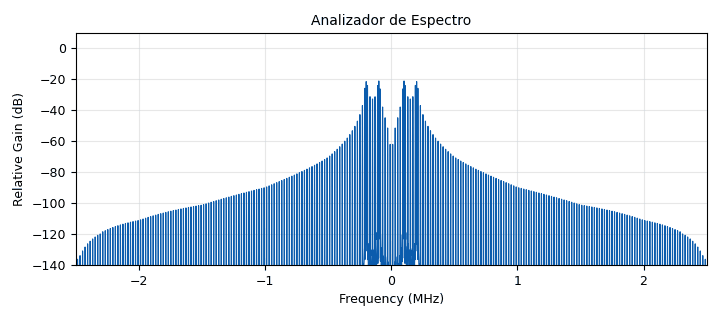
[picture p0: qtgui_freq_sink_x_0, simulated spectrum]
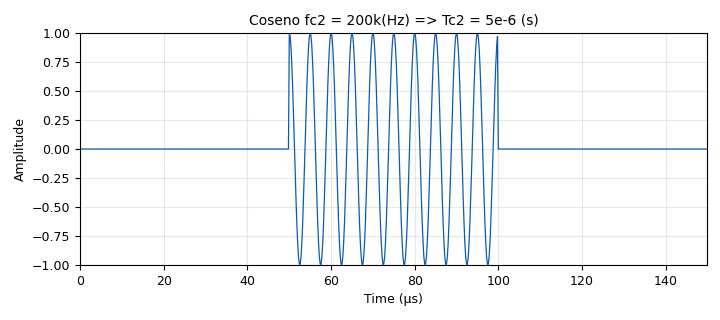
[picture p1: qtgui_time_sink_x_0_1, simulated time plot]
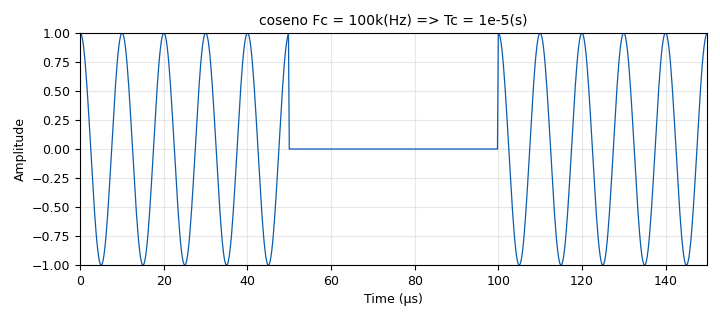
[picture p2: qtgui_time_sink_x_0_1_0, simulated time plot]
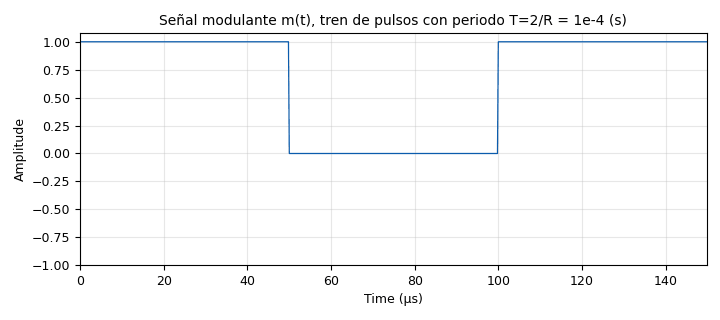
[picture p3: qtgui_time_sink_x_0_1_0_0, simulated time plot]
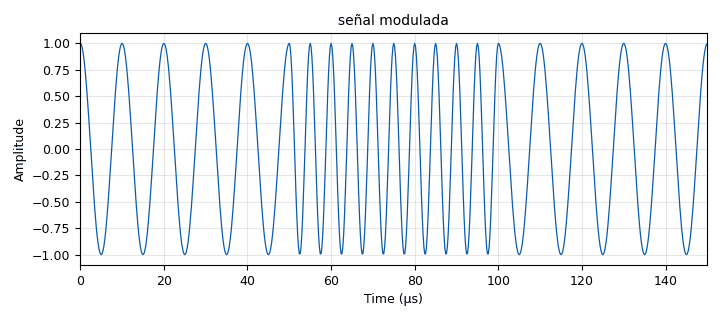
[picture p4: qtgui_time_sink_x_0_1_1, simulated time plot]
options:
  parameters:
    generate_options: qt_gui
    id: Act1Lab3
    output_language: python
    title: Act1Lab3
  states: {}

blocks:
- name: LongitudVector
  id: variable
  parameters:
    value: int((samp_rate//R)*3)
  states: {}
- name: R
  id: variable
  parameters:
    value: 10e3 * 2
  states: {}
- name: fc
  id: variable
  parameters:
    value: R*10/2
  states: {}
- name: fc2
  id: variable
  parameters:
    value: R*20/2
  states: {}
- name: samp_rate
  id: variable
  parameters:
    value: 500e4
  states: {}
- name: analog_sig_source_x_0
  id: analog_sig_source_x
  parameters:
    amp: '1'
    freq: fc2
    offset: '0'
    phase: '0'
    samp_rate: samp_rate
    type: float
    waveform: analog.GR_COS_WAVE
  states: {}
- name: analog_sig_source_x_0_0
  id: analog_sig_source_x
  parameters:
    amp: '1'
    freq: fc
    offset: '0'
    phase: '0'
    samp_rate: samp_rate
    type: float
    waveform: analog.GR_COS_WAVE
  states: {}
- name: analog_sig_source_x_0_0_0_0
  id: analog_sig_source_x
  parameters:
    amp: '1'
    freq: R/2
    offset: '0'
    phase: '0'
    samp_rate: samp_rate
    type: float
    waveform: analog.GR_SQR_WAVE
  states: {}
- name: blocks_add_const_vxx_0
  id: blocks_add_const_vxx
  parameters:
    const: '-1'
    type: float
  states: {}
- name: blocks_add_xx_0
  id: blocks_add_xx
  parameters:
    type: float
  states: {}
- name: blocks_float_to_complex_1
  id: blocks_float_to_complex
  parameters: {}
  states: {state: disabled}
- name: blocks_multiply_const_vxx_0
  id: blocks_multiply_const_vxx
  parameters:
    const: '-1'
    type: float
  states: {}
- name: blocks_multiply_xx_0
  id: blocks_multiply_xx
  parameters:
    type: float
  states: {}
- name: blocks_multiply_xx_0_0
  id: blocks_multiply_xx
  parameters:
    type: float
  states: {}
- name: qtgui_freq_sink_x_0
  id: qtgui_freq_sink_x
  parameters:
    bw: samp_rate
    fc: '0'
    fftsize: 1024*10
    name: Analizador de Espectro
    type: float
  states: {}
- name: qtgui_time_sink_x_0_1
  id: qtgui_time_sink_x
  parameters:
    name: Coseno fc2 = 200k(Hz) => Tc2 = 5e-6 (s)
    size: LongitudVector
    srate: samp_rate
    type: float
  states: {}
- name: qtgui_time_sink_x_0_1_0
  id: qtgui_time_sink_x
  parameters:
    name: coseno Fc = 100k(Hz) => Tc = 1e-5(s)
    size: LongitudVector
    srate: samp_rate
    type: float
  states: {}
- name: qtgui_time_sink_x_0_1_0_0
  id: qtgui_time_sink_x
  parameters:
    name: Señal modulante m(t), tren de pulsos con periodo T=2/R = 1e-4 (s)
    size: LongitudVector
    srate: samp_rate
    type: float
  states: {}
- name: qtgui_time_sink_x_0_1_1
  id: qtgui_time_sink_x
  parameters:
    autoscale: 'True'
    name: señal modulada
    size: LongitudVector
    srate: samp_rate
    type: float
  states: {}
- name: uhd_usrp_sink_1
  id: uhd_usrp_sink
  parameters:
    ant0: TX/RX
    center_freq0: 800e6
    dev_args: '""'
    gain0: '30'
    len_tag_name: ''
    samp_rate: samp_rate
    sync: sync
    type: fc32
  states: {state: disabled}
- name: virtual_sink_0
  id: virtual_sink
  parameters:
    stream_id: modulante
  states: {}
- name: virtual_source_0
  id: virtual_source
  parameters:
    stream_id: modulante
  states: {}

connections:
- [analog_sig_source_x_0, '0', blocks_multiply_xx_0, '0']
- [analog_sig_source_x_0_0, '0', blocks_multiply_xx_0_0, '0']
- [analog_sig_source_x_0_0_0_0, '0', blocks_multiply_xx_0_0, '1']
- [analog_sig_source_x_0_0_0_0, '0', qtgui_time_sink_x_0_1_0_0, '0']
- [analog_sig_source_x_0_0_0_0, '0', virtual_sink_0, '0']
- [blocks_add_const_vxx_0, '0', blocks_multiply_const_vxx_0, '0']
- [blocks_add_xx_0, '0', blocks_float_to_complex_1, '0']
- [blocks_add_xx_0, '0', qtgui_freq_sink_x_0, '0']
- [blocks_add_xx_0, '0', qtgui_time_sink_x_0_1_1, '0']
- [blocks_float_to_complex_1, '0', uhd_usrp_sink_1, '0']
- [blocks_multiply_const_vxx_0, '0', blocks_multiply_xx_0, '1']
- [blocks_multiply_xx_0, '0', blocks_add_xx_0, '0']
- [blocks_multiply_xx_0, '0', qtgui_time_sink_x_0_1, '0']
- [blocks_multiply_xx_0_0, '0', blocks_add_xx_0, '1']
- [blocks_multiply_xx_0_0, '0', qtgui_time_sink_x_0_1_0, '0']
- [virtual_source_0, '0', blocks_add_const_vxx_0, '0']

metadata:
  file_format: 1
